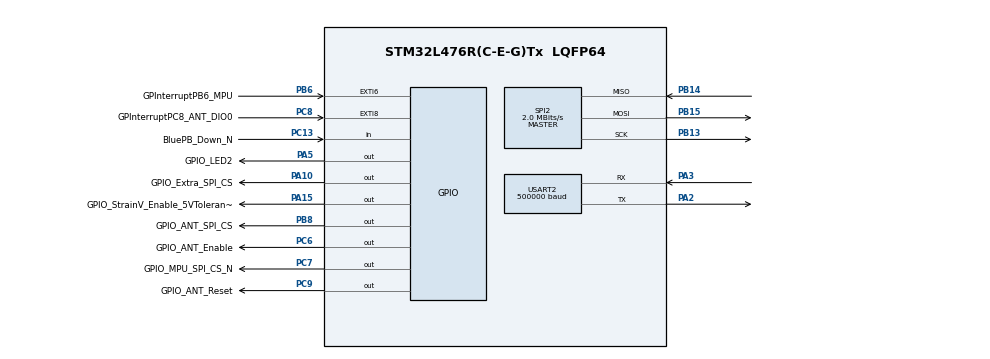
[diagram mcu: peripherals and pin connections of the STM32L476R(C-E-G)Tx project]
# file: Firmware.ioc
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Mcu.Family=STM32L4
Mcu.Name=STM32L476R(C-E-G)Tx
Mcu.Package=LQFP64
NVIC.PriorityGroup=NVIC_PRIORITYGROUP_4
NVIC.TIM1_TRG_COM_TIM17_IRQn=true\:0\:0\:false\:false\:true\:true\:true\:true
PA0.GPIO_Label=AIn_StrainV_1
PA0.Signal=ADCx_IN5
PA1.GPIO_Label=AIn_StrainV_2
PA1.Signal=ADCx_IN6
PA10.GPIO_Label=GPIO_Extra_SPI_CS
PA10.PinState=GPIO_PIN_SET
PA10.Signal=GPIO_Output
PA15\ (JTDI).GPIO_Label=GPIO_StrainV_Enable_5VTolerant_N
PA15\ (JTDI).GPIO_ModeDefaultOutputPP=GPIO_MODE_OUTPUT_OD
PA15\ (JTDI).GPIO_PuPd=GPIO_NOPULL
PA15\ (JTDI).PinState=GPIO_PIN_SET
PA15\ (JTDI).Signal=GPIO_Output
PA2.Mode=Asynchronous
PA2.Signal=USART2_TX
PA3.Mode=Asynchronous
PA3.Signal=USART2_RX
PA4.GPIO_Label=AIn_StrainV_3
PA4.Signal=ADCx_IN9
PA5.GPIO_Label=GPIO_LED2
PA5.PinState=GPIO_PIN_SET
PA5.Signal=GPIO_Output
PA6.GPIO_Label=AIn_StrainV_6
PA6.Signal=ADCx_IN11
PB0.GPIO_Label=AIn_StrainV_4
PB0.Signal=ADCx_IN15
PB1.GPIO_Label=AIn_StrainV_7
PB1.Signal=ADCx_IN16
PB13.Mode=Full_Duplex_Master
PB13.Signal=SPI2_SCK
PB14.Mode=Full_Duplex_Master
PB14.Signal=SPI2_MISO
PB15.Mode=Full_Duplex_Master
PB15.Signal=SPI2_MOSI
PB6.GPIO_Label=GPInterruptPB6_MPU
PB6.Signal=GPXTI6
PB8.GPIO_Label=GPIO_ANT_SPI_CS
PB8.PinState=GPIO_PIN_SET
PB8.Signal=GPIO_Output
PC0.GPIO_Label=AIn_BatteryV
PC0.Signal=ADCx_IN1
PC13.GPIO_Label=BluePB_Down_N
PC13.Signal=GPIO_Input
PC4.GPIO_Label=AIn_StrainV_8
PC4.Signal=ADCx_IN13
PC5.GPIO_Label=AIn_StrainV_5
PC5.Signal=ADCx_IN14
PC6.GPIO_Label=GPIO_ANT_Enable
PC6.Signal=GPIO_Output
PC7.GPIO_Label=GPIO_MPU_SPI_CS_N
PC7.PinState=GPIO_PIN_SET
PC7.Signal=GPIO_Output
PC8.GPIO_Label=GPInterruptPC8_ANT_DIO0
PC8.Signal=GPXTI8
PC9.GPIO_Label=GPIO_ANT_Reset
PC9.Signal=GPIO_Output
ProjectManager.HeapSize=0x200
ProjectManager.StackSize=0x400
ProjectManager.TargetToolchain=STM32CubeIDE
RCC.HSE_VALUE=8000000
RCC.HSI_VALUE=16000000
RCC.LSE_VALUE=32768
RCC.MSI_VALUE=4000000
RCC.VCOOutputFreq_Value=32000000
SH.ADCx_IN1.0=ADC1_IN1
SH.ADCx_IN11.0=ADC1_IN11
SH.ADCx_IN13.0=ADC1_IN13
SH.ADCx_IN14.0=ADC1_IN14
SH.ADCx_IN15.0=ADC1_IN15
SH.ADCx_IN16.0=ADC1_IN16
SH.ADCx_IN5.0=ADC1_IN5
SH.ADCx_IN6.0=ADC1_IN6
SH.ADCx_IN9.0=ADC1_IN9
SPI2.CalculateBaudRate=2.0 MBits/s
SPI2.Direction=SPI_DIRECTION_2LINES
SPI2.Mode=SPI_MODE_MASTER
SPI2.VirtualType=VM_MASTER
TIM17.Period=999
TIM17.Prescaler=3
USART2.BaudRate=500000
USART2.OverSampling=UART_OVERSAMPLING_8
USART2.VirtualMode-Asynchronous=VM_ASYNC
VP_TIM17_VS_ClockSourceINT.Mode=Enable_Timer
board=NUCLEO-L476RG

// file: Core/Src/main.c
/* USER CODE BEGIN Header */

// todo
// i'd like versioning to spit out on serial port.
// immediately i need a binary format to fully exploit 500 kbps. that's a lot of bandwidth.
// sample all analog ins
// test gpio outs
// test gpio ins
// get SPI hello world echo working

/* USER CODE END Header */
#include "main.h"
#include "Common/Protocol.h"

/* USER CODE BEGIN Includes */
#include <stdint.h>
#include <stdbool.h>
#include <stdlib.h>
#include <string.h>
/* USER CODE END Includes */

SPI_HandleTypeDef hspi2;

TIM_HandleTypeDef htim17;

UART_HandleTypeDef huart2;

void SystemClock_Config(void);
static void MX_GPIO_Init(void);
static void MX_SPI2_Init(void);
static void MX_USART2_UART_Init(void);
static void MX_TIM17_Init(void);

/* USER CODE BEGIN 0 */
void HAL_TIM_PeriodElapsedCallback(TIM_HandleTypeDef *htim)
{
    /* Check which timer triggered this callback */
    if (htim->Instance == TIM17) {
        // read
    }
}
/* USER CODE END 0 */

int main(void)
{

  /* MCU Configuration--------------------------------------------------------*/

  /* Reset of all peripherals, Initializes the Flash interface and the Systick. */
  HAL_Init();

  /* Configure the system clock */
  SystemClock_Config();

  /* Initialize all configured peripherals */
  MX_GPIO_Init();
  MX_SPI2_Init();
  MX_USART2_UART_Init();
  MX_TIM17_Init();
  /* USER CODE BEGIN 2 */
	{
		const char msg[] = "Hello World from STM32!\r\n";
		HAL_UART_Transmit(&huart2, (const uint8_t*)msg, (sizeof(msg) - 1), 100);
	}

	HAL_TIM_Base_Start_IT(&htim17);
  /* USER CODE END 2 */

  /* Infinite loop */
  /* USER CODE BEGIN WHILE */
	bool blue_pb_down_now = false;
	bool blue_pb_down_was = false;

	int loop_n = 0;
	char number_str[32 + 1] = { 0 };
	while (1) {
    /* USER CODE END WHILE */

    /* USER CODE BEGIN 3 */
		blue_pb_down_now = (GPIO_PIN_RESET == HAL_GPIO_ReadPin(BluePB_Down_N_GPIO_Port, BluePB_Down_N_Pin));
		if (!blue_pb_down_was && blue_pb_down_now) {
			// HAL_GPIO_TogglePin(GPIO_LED2_GPIO_Port, GPIO_LED2_Pin);

			HAL_GPIO_TogglePin(GPIO_StrainV_Enable_5VTolerant_N_GPIO_Port, GPIO_StrainV_Enable_5VTolerant_N_Pin);
		}
		blue_pb_down_was = blue_pb_down_now;
		// HAL_Delay(50);

		++loop_n;
		itoa(loop_n, number_str, 10);
		HAL_UART_Transmit(&huart2, (const uint8_t*)number_str, (1 + strlen(number_str)), 100);
		HAL_Delay(1000);
	}
  /* USER CODE END 3 */
}

void SystemClock_Config(void)
{
  RCC_OscInitTypeDef RCC_OscInitStruct = {0};
  RCC_ClkInitTypeDef RCC_ClkInitStruct = {0};

  /** Configure the main internal regulator output voltage
  */
  if (HAL_PWREx_ControlVoltageScaling(PWR_REGULATOR_VOLTAGE_SCALE1) != HAL_OK)
  {
    Error_Handler();
  }

  /** Initializes the RCC Oscillators according to the specified parameters
  * in the RCC_OscInitTypeDef structure.
  */
  RCC_OscInitStruct.OscillatorType = RCC_OSCILLATORTYPE_MSI;
  RCC_OscInitStruct.MSIState = RCC_MSI_ON;
  RCC_OscInitStruct.MSICalibrationValue = 0;
  RCC_OscInitStruct.MSIClockRange = RCC_MSIRANGE_6;
  RCC_OscInitStruct.PLL.PLLState = RCC_PLL_NONE;
  if (HAL_RCC_OscConfig(&RCC_OscInitStruct) != HAL_OK)
  {
    Error_Handler();
  }

  /** Initializes the CPU, AHB and APB buses clocks
  */
  RCC_ClkInitStruct.ClockType = RCC_CLOCKTYPE_HCLK|RCC_CLOCKTYPE_SYSCLK
                              |RCC_CLOCKTYPE_PCLK1|RCC_CLOCKTYPE_PCLK2;
  RCC_ClkInitStruct.SYSCLKSource = RCC_SYSCLKSOURCE_MSI;
  RCC_ClkInitStruct.AHBCLKDivider = RCC_SYSCLK_DIV1;
  RCC_ClkInitStruct.APB1CLKDivider = RCC_HCLK_DIV1;
  RCC_ClkInitStruct.APB2CLKDivider = RCC_HCLK_DIV1;

  if (HAL_RCC_ClockConfig(&RCC_ClkInitStruct, FLASH_LATENCY_0) != HAL_OK)
  {
    Error_Handler();
  }
}

static void MX_SPI2_Init(void)
{

  /* SPI2 parameter configuration*/
  hspi2.Instance = SPI2;
  hspi2.Init.Mode = SPI_MODE_MASTER;
  hspi2.Init.Direction = SPI_DIRECTION_2LINES;
  hspi2.Init.DataSize = SPI_DATASIZE_4BIT;
  hspi2.Init.CLKPolarity = SPI_POLARITY_LOW;
  hspi2.Init.CLKPhase = SPI_PHASE_1EDGE;
  hspi2.Init.NSS = SPI_NSS_SOFT;
  hspi2.Init.BaudRatePrescaler = SPI_BAUDRATEPRESCALER_2;
  hspi2.Init.FirstBit = SPI_FIRSTBIT_MSB;
  hspi2.Init.TIMode = SPI_TIMODE_DISABLE;
  hspi2.Init.CRCCalculation = SPI_CRCCALCULATION_DISABLE;
  hspi2.Init.CRCPolynomial = 7;
  hspi2.Init.CRCLength = SPI_CRC_LENGTH_DATASIZE;
  hspi2.Init.NSSPMode = SPI_NSS_PULSE_ENABLE;
  if (HAL_SPI_Init(&hspi2) != HAL_OK)
  {
    Error_Handler();
  }

}

static void MX_TIM17_Init(void)
{

  htim17.Instance = TIM17;
  htim17.Init.Prescaler = 3;
  htim17.Init.CounterMode = TIM_COUNTERMODE_UP;
  htim17.Init.Period = 999;
  htim17.Init.ClockDivision = TIM_CLOCKDIVISION_DIV1;
  htim17.Init.RepetitionCounter = 0;
  htim17.Init.AutoReloadPreload = TIM_AUTORELOAD_PRELOAD_DISABLE;
  if (HAL_TIM_Base_Init(&htim17) != HAL_OK)
  {
    Error_Handler();
  }

}

static void MX_USART2_UART_Init(void)
{

  huart2.Instance = USART2;
  huart2.Init.BaudRate = 500000;
  huart2.Init.WordLength = UART_WORDLENGTH_8B;
  huart2.Init.StopBits = UART_STOPBITS_1;
  huart2.Init.Parity = UART_PARITY_NONE;
  huart2.Init.Mode = UART_MODE_TX_RX;
  huart2.Init.HwFlowCtl = UART_HWCONTROL_NONE;
  huart2.Init.OverSampling = UART_OVERSAMPLING_8;
  huart2.Init.OneBitSampling = UART_ONE_BIT_SAMPLE_DISABLE;
  huart2.AdvancedInit.AdvFeatureInit = UART_ADVFEATURE_NO_INIT;
  if (HAL_UART_Init(&huart2) != HAL_OK)
  {
    Error_Handler();
  }

}

static void MX_GPIO_Init(void)
{
  GPIO_InitTypeDef GPIO_InitStruct = {0};

  /* GPIO Ports Clock Enable */
  __HAL_RCC_GPIOC_CLK_ENABLE();
  __HAL_RCC_GPIOA_CLK_ENABLE();
  __HAL_RCC_GPIOB_CLK_ENABLE();

  /*Configure GPIO pin Output Level */
  HAL_GPIO_WritePin(GPIOA, GPIO_LED2_Pin|GPIO_Extra_SPI_CS_Pin|GPIO_StrainV_Enable_5VTolerant_N_Pin, GPIO_PIN_SET);

  /*Configure GPIO pin Output Level */
  HAL_GPIO_WritePin(GPIOC, GPIO_ANT_Enable_Pin|GPIO_ANT_Reset_Pin, GPIO_PIN_RESET);

  /*Configure GPIO pin Output Level */
  HAL_GPIO_WritePin(GPIO_MPU_SPI_CS_N_GPIO_Port, GPIO_MPU_SPI_CS_N_Pin, GPIO_PIN_SET);

  /*Configure GPIO pin Output Level */
  HAL_GPIO_WritePin(GPIO_ANT_SPI_CS_GPIO_Port, GPIO_ANT_SPI_CS_Pin, GPIO_PIN_SET);

  /*Configure GPIO pin : BluePB_Down_N_Pin */
  GPIO_InitStruct.Pin = BluePB_Down_N_Pin;
  GPIO_InitStruct.Mode = GPIO_MODE_INPUT;
  GPIO_InitStruct.Pull = GPIO_NOPULL;
  HAL_GPIO_Init(BluePB_Down_N_GPIO_Port, &GPIO_InitStruct);

  /*Configure GPIO pins : AIn_BatteryV_Pin AIn_StrainV_8_Pin AIn_StrainV_5_Pin */
  GPIO_InitStruct.Pin = AIn_BatteryV_Pin|AIn_StrainV_8_Pin|AIn_StrainV_5_Pin;
  GPIO_InitStruct.Mode = GPIO_MODE_ANALOG_ADC_CONTROL;
  GPIO_InitStruct.Pull = GPIO_NOPULL;
  HAL_GPIO_Init(GPIOC, &GPIO_InitStruct);

  /*Configure GPIO pins : AIn_StrainV_1_Pin AIn_StrainV_2_Pin AIn_StrainV_3_Pin AIn_StrainV_6_Pin */
  GPIO_InitStruct.Pin = AIn_StrainV_1_Pin|AIn_StrainV_2_Pin|AIn_StrainV_3_Pin|AIn_StrainV_6_Pin;
  GPIO_InitStruct.Mode = GPIO_MODE_ANALOG_ADC_CONTROL;
  GPIO_InitStruct.Pull = GPIO_NOPULL;
  HAL_GPIO_Init(GPIOA, &GPIO_InitStruct);

  /*Configure GPIO pins : GPIO_LED2_Pin GPIO_Extra_SPI_CS_Pin */
  GPIO_InitStruct.Pin = GPIO_LED2_Pin|GPIO_Extra_SPI_CS_Pin;
  GPIO_InitStruct.Mode = GPIO_MODE_OUTPUT_PP;
  GPIO_InitStruct.Pull = GPIO_NOPULL;
  GPIO_InitStruct.Speed = GPIO_SPEED_FREQ_LOW;
  HAL_GPIO_Init(GPIOA, &GPIO_InitStruct);

  /*Configure GPIO pins : AIn_StrainV_4_Pin AIn_StrainV_7_Pin */
  GPIO_InitStruct.Pin = AIn_StrainV_4_Pin|AIn_StrainV_7_Pin;
  GPIO_InitStruct.Mode = GPIO_MODE_ANALOG_ADC_CONTROL;
  GPIO_InitStruct.Pull = GPIO_NOPULL;
  HAL_GPIO_Init(GPIOB, &GPIO_InitStruct);

  /*Configure GPIO pins : GPIO_ANT_Enable_Pin GPIO_MPU_SPI_CS_N_Pin GPIO_ANT_Reset_Pin */
  GPIO_InitStruct.Pin = GPIO_ANT_Enable_Pin|GPIO_MPU_SPI_CS_N_Pin|GPIO_ANT_Reset_Pin;
  GPIO_InitStruct.Mode = GPIO_MODE_OUTPUT_PP;
  GPIO_InitStruct.Pull = GPIO_NOPULL;
  GPIO_InitStruct.Speed = GPIO_SPEED_FREQ_LOW;
  HAL_GPIO_Init(GPIOC, &GPIO_InitStruct);

  /*Configure GPIO pin : GPInterruptPC8_ANT_DIO0_Pin */
  GPIO_InitStruct.Pin = GPInterruptPC8_ANT_DIO0_Pin;
  GPIO_InitStruct.Mode = GPIO_MODE_IT_RISING;
  GPIO_InitStruct.Pull = GPIO_NOPULL;
  HAL_GPIO_Init(GPInterruptPC8_ANT_DIO0_GPIO_Port, &GPIO_InitStruct);

  /*Configure GPIO pin : GPIO_StrainV_Enable_5VTolerant_N_Pin */
  GPIO_InitStruct.Pin = GPIO_StrainV_Enable_5VTolerant_N_Pin;
  GPIO_InitStruct.Mode = GPIO_MODE_OUTPUT_OD;
  GPIO_InitStruct.Pull = GPIO_NOPULL;
  GPIO_InitStruct.Speed = GPIO_SPEED_FREQ_LOW;
  HAL_GPIO_Init(GPIO_StrainV_Enable_5VTolerant_N_GPIO_Port, &GPIO_InitStruct);

  /*Configure GPIO pin : GPInterruptPB6_MPU_Pin */
  GPIO_InitStruct.Pin = GPInterruptPB6_MPU_Pin;
  GPIO_InitStruct.Mode = GPIO_MODE_IT_RISING;
  GPIO_InitStruct.Pull = GPIO_NOPULL;
  HAL_GPIO_Init(GPInterruptPB6_MPU_GPIO_Port, &GPIO_InitStruct);

  /*Configure GPIO pin : GPIO_ANT_SPI_CS_Pin */
  GPIO_InitStruct.Pin = GPIO_ANT_SPI_CS_Pin;
  GPIO_InitStruct.Mode = GPIO_MODE_OUTPUT_PP;
  GPIO_InitStruct.Pull = GPIO_NOPULL;
  GPIO_InitStruct.Speed = GPIO_SPEED_FREQ_LOW;
  HAL_GPIO_Init(GPIO_ANT_SPI_CS_GPIO_Port, &GPIO_InitStruct);

}

void Error_Handler(void)
{
	__disable_irq();
	while (1) {
	}
}
